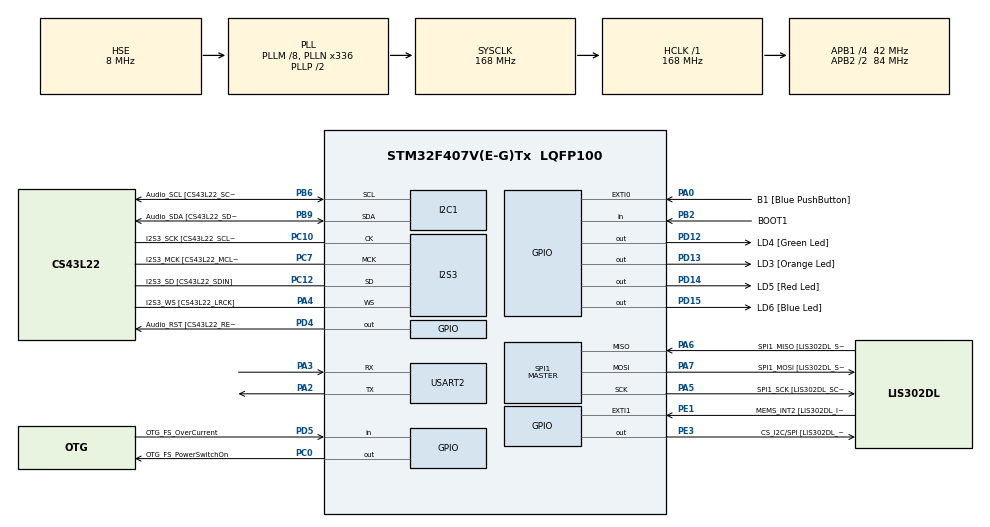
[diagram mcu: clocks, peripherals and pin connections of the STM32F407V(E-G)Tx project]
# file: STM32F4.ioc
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I2S3.AudioFreq-Half_Duplex_Master=I2S_AUDIOFREQ_96K
I2S3.ErrorAudioFreq=-2.34 %
I2S3.ErrorAudioFreq-Half_Duplex_Master=0.8 %
I2S3.FullDuplexMode=I2S_FULLDUPLEXMODE_DISABLE
I2S3.Instance=SPI$Index
I2S3.RealAudioFreq=93.75 KHz
I2S3.RealAudioFreq-Half_Duplex_Master=96.774 KHz
I2S3.VirtualMode=I2S_MODE_MASTER
Mcu.Family=STM32F4
Mcu.Name=STM32F407V(E-G)Tx
Mcu.Package=LQFP100
NVIC.PriorityGroup=NVIC_PRIORITYGROUP_0
PA0-WKUP.GPIO_Label=B1 [Blue PushButton]
PA0-WKUP.GPIO_ModeDefaultEXTI=GPIO_MODE_EVT_RISING
PA0-WKUP.GPIO_PuPd=GPIO_NOPULL
PA0-WKUP.Signal=GPXTI0
PA10.GPIO_Label=OTG_FS_ID
PA10.GPIO_Mode=GPIO_MODE_AF_PP
PA10.GPIO_PuPd=GPIO_NOPULL
PA10.GPIO_Speed=GPIO_SPEED_FREQ_LOW
PA10.Signal=USB_OTG_FS_ID
PA11.GPIO_Label=OTG_FS_DM
PA11.GPIO_Mode=GPIO_MODE_AF_PP
PA11.GPIO_PuPd=GPIO_NOPULL
PA11.GPIO_Speed=GPIO_SPEED_FREQ_LOW
PA11.Signal=USB_OTG_FS_DM
PA12.GPIO_Label=OTG_FS_DP
PA12.GPIO_Mode=GPIO_MODE_AF_PP
PA12.GPIO_PuPd=GPIO_NOPULL
PA12.GPIO_Speed=GPIO_SPEED_FREQ_LOW
PA12.Signal=USB_OTG_FS_DP
PA13.GPIO_Label=SWDIO
PA13.Mode=Serial_Wire
PA13.Signal=SYS_JTMS-SWDIO
PA14.GPIO_Label=SWCLK
PA14.Mode=Serial_Wire
PA14.Signal=SYS_JTCK-SWCLK
PA2.Mode=Asynchronous
PA2.Signal=USART2_TX
PA3.Mode=Asynchronous
PA3.Signal=USART2_RX
PA4.GPIO_Label=I2S3_WS [CS43L22_LRCK]
PA4.GPIO_Mode=GPIO_MODE_AF_PP
PA4.GPIO_PuPd=GPIO_NOPULL
PA4.GPIO_Speed=GPIO_SPEED_FREQ_LOW
PA4.Mode=Half_Duplex_Master
PA4.Signal=I2S3_WS
PA5.GPIO_Label=SPI1_SCK [LIS302DL_SCL/SPC]
PA5.GPIO_Mode=GPIO_MODE_AF_PP
PA5.GPIO_PuPd=GPIO_NOPULL
PA5.GPIO_Speed=GPIO_SPEED_FREQ_LOW
PA5.Mode=Full_Duplex_Master
PA5.Signal=SPI1_SCK
PA6.GPIO_Label=SPI1_MISO [LIS302DL_SDO]
PA6.GPIO_Mode=GPIO_MODE_AF_PP
PA6.GPIO_PuPd=GPIO_NOPULL
PA6.GPIO_Speed=GPIO_SPEED_FREQ_LOW
PA6.Mode=Full_Duplex_Master
PA6.Signal=SPI1_MISO
PA7.GPIO_Label=SPI1_MOSI [LIS302DL_SDA/SDI/SDO]
PA7.GPIO_Mode=GPIO_MODE_AF_PP
PA7.GPIO_PuPd=GPIO_NOPULL
PA7.GPIO_Speed=GPIO_SPEED_FREQ_LOW
PA7.Mode=Full_Duplex_Master
PA7.Signal=SPI1_MOSI
PA9.GPIO_Label=VBUS_FS
PA9.GPIO_Mode=GPIO_MODE_INPUT
PA9.GPIO_PuPd=GPIO_NOPULL
PA9.Signal=USB_OTG_FS_VBUS
PB10.GPIO_Label=CLK_IN [MP45DT02_CLK]
PB10.GPIO_Mode=GPIO_MODE_AF_PP
PB10.GPIO_PuPd=GPIO_NOPULL
PB10.GPIO_Speed=GPIO_SPEED_FREQ_LOW
PB10.Signal=I2S2_CK
PB2.GPIO_Label=BOOT1
PB2.GPIO_Mode=GPIO_MODE_INPUT
PB2.GPIO_PuPd=GPIO_NOPULL
PB2.Signal=GPIO_Input
PB3.GPIO_Label=SWO
PB3.Signal=SYS_JTDO-SWO
PB6.GPIO_Label=Audio_SCL [CS43L22_SCL]
PB6.GPIO_Mode=GPIO_MODE_AF_OD
PB6.GPIO_Pu=GPIO_PULLUP
PB6.GPIO_PuPd=GPIO_NOPULL
PB6.GPIO_Speed=GPIO_SPEED_FREQ_LOW
PB6.Mode=I2C
PB6.Signal=I2C1_SCL
PB9.GPIO_Label=Audio_SDA [CS43L22_SDA]
PB9.GPIO_Mode=GPIO_MODE_AF_OD
PB9.GPIO_Pu=GPIO_PULLUP
PB9.GPIO_PuPd=GPIO_NOPULL
PB9.GPIO_Speed=GPIO_SPEED_FREQ_LOW
PB9.Mode=I2C
PB9.Signal=I2C1_SDA
PC0.GPIO_Label=OTG_FS_PowerSwitchOn
PC0.GPIO_PuPd=GPIO_NOPULL
PC0.GPIO_Speed=GPIO_SPEED_FREQ_LOW
PC0.PinState=GPIO_PIN_SET
PC0.Signal=GPIO_Output
PC10.GPIO_Label=I2S3_SCK [CS43L22_SCLK]
PC10.GPIO_Mode=GPIO_MODE_AF_PP
PC10.GPIO_PuPd=GPIO_NOPULL
PC10.GPIO_Speed=GPIO_SPEED_FREQ_LOW
PC10.Mode=Half_Duplex_Master
PC10.Signal=I2S3_CK
PC12.GPIO_Label=I2S3_SD [CS43L22_SDIN]
PC12.GPIO_Mode=GPIO_MODE_AF_PP
PC12.GPIO_PuPd=GPIO_NOPULL
PC12.GPIO_Speed=GPIO_SPEED_FREQ_LOW
PC12.Mode=Half_Duplex_Master
PC12.Signal=I2S3_SD
PC14-OSC32_IN.GPIO_Label=PC14-OSC32_IN
PC14-OSC32_IN.Mode=LSE-External-Oscillator
PC14-OSC32_IN.Signal=RCC_OSC32_IN
PC15-OSC32_OUT.GPIO_Label=PC15-OSC32_OUT
PC15-OSC32_OUT.Mode=LSE-External-Oscillator
PC15-OSC32_OUT.Signal=RCC_OSC32_OUT
PC3.GPIO_Label=PDM_OUT [MP45DT02_DOUT]
PC3.GPIO_Mode=GPIO_MODE_AF_PP
PC3.GPIO_PuPd=GPIO_NOPULL
PC3.GPIO_Speed=GPIO_SPEED_FREQ_LOW
PC3.Signal=I2S2_SD
PC7.GPIO_Label=I2S3_MCK [CS43L22_MCLK]
PC7.GPIO_Mode=GPIO_MODE_AF_PP
PC7.GPIO_PuPd=GPIO_NOPULL
PC7.GPIO_Speed=GPIO_SPEED_FREQ_LOW
PC7.Mode=Master_Clock_Activated
PC7.Signal=I2S3_MCK
PD12.GPIO_Label=LD4 [Green Led]
PD12.GPIO_PuPd=GPIO_NOPULL
PD12.GPIO_Speed=GPIO_SPEED_FREQ_LOW
PD12.Signal=GPIO_Output
PD13.GPIO_Label=LD3 [Orange Led]
PD13.GPIO_PuPd=GPIO_NOPULL
PD13.GPIO_Speed=GPIO_SPEED_FREQ_LOW
PD13.Signal=GPIO_Output
PD14.GPIO_Label=LD5 [Red Led]
PD14.GPIO_PuPd=GPIO_NOPULL
PD14.GPIO_Speed=GPIO_SPEED_FREQ_LOW
PD14.Signal=GPIO_Output
PD15.GPIO_Label=LD6 [Blue Led]
PD15.GPIO_PuPd=GPIO_NOPULL
PD15.GPIO_Speed=GPIO_SPEED_FREQ_LOW
PD15.Signal=GPIO_Output
PD4.GPIO_Label=Audio_RST [CS43L22_RESET]
PD4.GPIO_PuPd=GPIO_NOPULL
PD4.GPIO_Speed=GPIO_SPEED_FREQ_LOW
PD4.Signal=GPIO_Output
PD5.GPIO_Label=OTG_FS_OverCurrent
PD5.GPIO_Mode=GPIO_MODE_INPUT
PD5.GPIO_PuPd=GPIO_NOPULL
PD5.Signal=GPIO_Input
PE1.GPIO_Label=MEMS_INT2 [LIS302DL_INT2]
PE1.GPIO_ModeDefaultEXTI=GPIO_MODE_EVT_RISING
PE1.GPIO_PuPd=GPIO_NOPULL
PE1.Signal=GPXTI1
PE3.GPIO_Label=CS_I2C/SPI [LIS302DL_CS_I2C/SPI]
PE3.GPIO_PuPd=GPIO_NOPULL
PE3.GPIO_Speed=GPIO_SPEED_FREQ_LOW
PE3.Signal=GPIO_Output
PH0-OSC_IN.GPIO_Label=PH0-OSC_IN
PH0-OSC_IN.Mode=HSE-External-Oscillator
PH0-OSC_IN.Signal=RCC_OSC_IN
PH1-OSC_OUT.GPIO_Label=PH1-OSC_OUT
PH1-OSC_OUT.Mode=HSE-External-Oscillator
PH1-OSC_OUT.Signal=RCC_OSC_OUT
ProjectManager.HeapSize=0x200
ProjectManager.StackSize=0x400
ProjectManager.TargetToolchain=STM32CubeIDE
RCC.48MHZClocksFreq_Value=48000000
RCC.AHBFreq_Value=168000000
RCC.APB1CLKDivider=RCC_HCLK_DIV4
RCC.APB1Freq_Value=42000000
RCC.APB1TimFreq_Value=84000000
RCC.APB2CLKDivider=RCC_HCLK_DIV2
RCC.APB2Freq_Value=84000000
RCC.APB2TimFreq_Value=168000000
RCC.CortexFreq_Value=168000000
RCC.HCLKFreq_Value=168000000
RCC.HSE_VALUE=8000000
RCC.HSI_VALUE=16000000
RCC.PLLM=8
RCC.PLLN=336
RCC.PLLQ=7
RCC.PLLSourceVirtual=RCC_PLLSOURCE_HSE
RCC.SYSCLKFreq_VALUE=168000000
RCC.SYSCLKSource=RCC_SYSCLKSOURCE_PLLCLK
RCC.VCOOutputFreq_Value=336000000
SPI1.BaudRatePrescaler-Full_Duplex_Master=SPI_BAUDRATEPRESCALER_2
SPI1.CalculateBaudRate-Full_Duplex_Master=42.0 MBits/s
SPI1.Direction=SPI_DIRECTION_2LINES
SPI1.Mode=SPI_MODE_MASTER
SPI1.Mode-Full_Duplex_Master=SPI_MODE_MASTER
SPI1.VirtualType=VM_MASTER
USART2.VirtualMode=VM_ASYNC
board=STM32F407G-DISC1

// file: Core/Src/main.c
/* USER CODE BEGIN Header */
/**
  ******************************************************************************
  * @file           : main.c
  * @brief          : Main program body
  ******************************************************************************
  * @attention
  *
  * Copyright (c) 2025 STMicroelectronics.
  * All rights reserved.
  *
  * This software is licensed under terms that can be found in the LICENSE file
  * in the root directory of this software component.
  * If no LICENSE file comes with this software, it is provided AS-IS.
  *
  ******************************************************************************
  */
/* USER CODE END Header */
#include "main.h"

/* USER CODE BEGIN Includes */
#include "stdio.h" //printf

/* USER CODE END Includes */

/* USER CODE BEGIN PD */
//define the ITM stimulus registers
#define ITM_PORT(n) (*((volatile unsigned long *)(0xE0000000+4*n)))

//DWT
//Define registers
#define DWT_CYCCNT *(volatile uint32_t *)0xE0001004
#define DWT_CONTROL *(volatile uint32_t *)0xE0001000
#define SCB_DEMCR *(volatile uint32_t *)0xE000EDFC

/* USER CODE END PD */

I2C_HandleTypeDef hi2c1;

I2S_HandleTypeDef hi2s3;

SPI_HandleTypeDef hspi1;

UART_HandleTypeDef huart2;

/* USER CODE BEGIN PV */
unsigned int Loop = 0;
//DWT
//Variables
uint32_t count_tic = 0;
uint32_t count_us = 0;

/* USER CODE END PV */

void SystemClock_Config(void);
static void MX_GPIO_Init(void);
static void MX_I2C1_Init(void);
static void MX_I2S3_Init(void);
static void MX_SPI1_Init(void);
static void MX_USART2_UART_Init(void);

/* USER CODE BEGIN 0 */
//write() function implementation for the printf()
/**/
int _write(int file, char *ptr, int len)
{
	// Implement your write code here, this is used by puts and printf for example
	for(int i=0 ; i<len ; i++)
	ITM_SendChar((*ptr++));
	return len;
}

/* USER CODE END 0 */

int main(void)
{

  /* USER CODE BEGIN 1 */
	//DWT
	//Enable the Counter
	SCB_DEMCR |= CoreDebug_DEMCR_TRCENA_Msk; //Enable DWT
	DWT_CONTROL|= DWT_CTRL_CYCCNTENA_Msk; //DWT On

  /* USER CODE END 1 */

  /* MCU Configuration--------------------------------------------------------*/

  /* Reset of all peripherals, Initializes the Flash interface and the Systick. */
  HAL_Init();

  /* Configure the system clock */
  SystemClock_Config();

  /* Initialize all configured peripherals */
  MX_GPIO_Init();
  MX_I2C1_Init();
  MX_I2S3_Init();
  MX_SPI1_Init();
  MX_USART2_UART_Init();

  /* Infinite loop */
  /* USER CODE BEGIN WHILE */
  while (1)
  {
	  Loop++;

	  //printf test
	  printf("Main loop!\n");
	  printf("Loop = %d \n", Loop); //Variable to SWO

	  //ITM_Port test
	  ITM_PORT(1) = 1; //Send data to ITM port
	  HAL_Delay(100);
	  ITM_PORT(1) = 2; //Send data to ITM port

	  //DWT test
	  DWT_CYCCNT = 0; 			//Set counter to 0
	  HAL_Delay(100);
	  //Get counter value
	  count_tic = DWT_CYCCNT; 	//qty of cycles
	  count_us = count_tic / (SystemCoreClock/1000000U); //time in us
	  ITM_PORT(2) = count_us; 	//us to ITM_Port

	  //Blink test
	  HAL_GPIO_TogglePin(LD4_GPIO_Port, LD4_Pin);
	  HAL_Delay(500);

    /* USER CODE END WHILE */

  }
}

void SystemClock_Config(void)
{
  RCC_OscInitTypeDef RCC_OscInitStruct = {0};
  RCC_ClkInitTypeDef RCC_ClkInitStruct = {0};

  /** Configure the main internal regulator output voltage
  */
  __HAL_RCC_PWR_CLK_ENABLE();
  __HAL_PWR_VOLTAGESCALING_CONFIG(PWR_REGULATOR_VOLTAGE_SCALE1);

  /** Initializes the RCC Oscillators according to the specified parameters
  * in the RCC_OscInitTypeDef structure.
  */
  RCC_OscInitStruct.OscillatorType = RCC_OSCILLATORTYPE_HSE;
  RCC_OscInitStruct.HSEState = RCC_HSE_ON;
  RCC_OscInitStruct.PLL.PLLState = RCC_PLL_ON;
  RCC_OscInitStruct.PLL.PLLSource = RCC_PLLSOURCE_HSE;
  RCC_OscInitStruct.PLL.PLLM = 8;
  RCC_OscInitStruct.PLL.PLLN = 336;
  RCC_OscInitStruct.PLL.PLLP = RCC_PLLP_DIV2;
  RCC_OscInitStruct.PLL.PLLQ = 7;
  if (HAL_RCC_OscConfig(&RCC_OscInitStruct) != HAL_OK)
  {
    Error_Handler();
  }

  /** Initializes the CPU, AHB and APB buses clocks
  */
  RCC_ClkInitStruct.ClockType = RCC_CLOCKTYPE_HCLK|RCC_CLOCKTYPE_SYSCLK
                              |RCC_CLOCKTYPE_PCLK1|RCC_CLOCKTYPE_PCLK2;
  RCC_ClkInitStruct.SYSCLKSource = RCC_SYSCLKSOURCE_PLLCLK;
  RCC_ClkInitStruct.AHBCLKDivider = RCC_SYSCLK_DIV1;
  RCC_ClkInitStruct.APB1CLKDivider = RCC_HCLK_DIV4;
  RCC_ClkInitStruct.APB2CLKDivider = RCC_HCLK_DIV2;

  if (HAL_RCC_ClockConfig(&RCC_ClkInitStruct, FLASH_LATENCY_5) != HAL_OK)
  {
    Error_Handler();
  }
}

static void MX_I2C1_Init(void)
{

  hi2c1.Instance = I2C1;
  hi2c1.Init.ClockSpeed = 100000;
  hi2c1.Init.DutyCycle = I2C_DUTYCYCLE_2;
  hi2c1.Init.OwnAddress1 = 0;
  hi2c1.Init.AddressingMode = I2C_ADDRESSINGMODE_7BIT;
  hi2c1.Init.DualAddressMode = I2C_DUALADDRESS_DISABLE;
  hi2c1.Init.OwnAddress2 = 0;
  hi2c1.Init.GeneralCallMode = I2C_GENERALCALL_DISABLE;
  hi2c1.Init.NoStretchMode = I2C_NOSTRETCH_DISABLE;
  if (HAL_I2C_Init(&hi2c1) != HAL_OK)
  {
    Error_Handler();
  }

}

static void MX_I2S3_Init(void)
{

  hi2s3.Instance = SPI3;
  hi2s3.Init.Mode = I2S_MODE_MASTER_TX;
  hi2s3.Init.Standard = I2S_STANDARD_PHILIPS;
  hi2s3.Init.DataFormat = I2S_DATAFORMAT_16B;
  hi2s3.Init.MCLKOutput = I2S_MCLKOUTPUT_ENABLE;
  hi2s3.Init.AudioFreq = I2S_AUDIOFREQ_96K;
  hi2s3.Init.CPOL = I2S_CPOL_LOW;
  hi2s3.Init.ClockSource = I2S_CLOCK_PLL;
  hi2s3.Init.FullDuplexMode = I2S_FULLDUPLEXMODE_DISABLE;
  if (HAL_I2S_Init(&hi2s3) != HAL_OK)
  {
    Error_Handler();
  }

}

static void MX_SPI1_Init(void)
{

  /* SPI1 parameter configuration*/
  hspi1.Instance = SPI1;
  hspi1.Init.Mode = SPI_MODE_MASTER;
  hspi1.Init.Direction = SPI_DIRECTION_2LINES;
  hspi1.Init.DataSize = SPI_DATASIZE_8BIT;
  hspi1.Init.CLKPolarity = SPI_POLARITY_LOW;
  hspi1.Init.CLKPhase = SPI_PHASE_1EDGE;
  hspi1.Init.NSS = SPI_NSS_SOFT;
  hspi1.Init.BaudRatePrescaler = SPI_BAUDRATEPRESCALER_2;
  hspi1.Init.FirstBit = SPI_FIRSTBIT_MSB;
  hspi1.Init.TIMode = SPI_TIMODE_DISABLE;
  hspi1.Init.CRCCalculation = SPI_CRCCALCULATION_DISABLE;
  hspi1.Init.CRCPolynomial = 10;
  if (HAL_SPI_Init(&hspi1) != HAL_OK)
  {
    Error_Handler();
  }

}

static void MX_USART2_UART_Init(void)
{

  huart2.Instance = USART2;
  huart2.Init.BaudRate = 115200;
  huart2.Init.WordLength = UART_WORDLENGTH_8B;
  huart2.Init.StopBits = UART_STOPBITS_1;
  huart2.Init.Parity = UART_PARITY_NONE;
  huart2.Init.Mode = UART_MODE_TX_RX;
  huart2.Init.HwFlowCtl = UART_HWCONTROL_NONE;
  huart2.Init.OverSampling = UART_OVERSAMPLING_16;
  if (HAL_UART_Init(&huart2) != HAL_OK)
  {
    Error_Handler();
  }

}

static void MX_GPIO_Init(void)
{
  GPIO_InitTypeDef GPIO_InitStruct = {0};

  /* GPIO Ports Clock Enable */
  __HAL_RCC_GPIOE_CLK_ENABLE();
  __HAL_RCC_GPIOC_CLK_ENABLE();
  __HAL_RCC_GPIOH_CLK_ENABLE();
  __HAL_RCC_GPIOA_CLK_ENABLE();
  __HAL_RCC_GPIOB_CLK_ENABLE();
  __HAL_RCC_GPIOD_CLK_ENABLE();

  /*Configure GPIO pin Output Level */
  HAL_GPIO_WritePin(CS_I2C_SPI_GPIO_Port, CS_I2C_SPI_Pin, GPIO_PIN_RESET);

  /*Configure GPIO pin Output Level */
  HAL_GPIO_WritePin(OTG_FS_PowerSwitchOn_GPIO_Port, OTG_FS_PowerSwitchOn_Pin, GPIO_PIN_SET);

  /*Configure GPIO pin Output Level */
  HAL_GPIO_WritePin(GPIOD, LD4_Pin|LD3_Pin|LD5_Pin|LD6_Pin
                          |Audio_RST_Pin, GPIO_PIN_RESET);

  /*Configure GPIO pin : CS_I2C_SPI_Pin */
  GPIO_InitStruct.Pin = CS_I2C_SPI_Pin;
  GPIO_InitStruct.Mode = GPIO_MODE_OUTPUT_PP;
  GPIO_InitStruct.Pull = GPIO_NOPULL;
  GPIO_InitStruct.Speed = GPIO_SPEED_FREQ_LOW;
  HAL_GPIO_Init(CS_I2C_SPI_GPIO_Port, &GPIO_InitStruct);

  /*Configure GPIO pin : OTG_FS_PowerSwitchOn_Pin */
  GPIO_InitStruct.Pin = OTG_FS_PowerSwitchOn_Pin;
  GPIO_InitStruct.Mode = GPIO_MODE_OUTPUT_PP;
  GPIO_InitStruct.Pull = GPIO_NOPULL;
  GPIO_InitStruct.Speed = GPIO_SPEED_FREQ_LOW;
  HAL_GPIO_Init(OTG_FS_PowerSwitchOn_GPIO_Port, &GPIO_InitStruct);

  /*Configure GPIO pin : PDM_OUT_Pin */
  GPIO_InitStruct.Pin = PDM_OUT_Pin;
  GPIO_InitStruct.Mode = GPIO_MODE_AF_PP;
  GPIO_InitStruct.Pull = GPIO_NOPULL;
  GPIO_InitStruct.Speed = GPIO_SPEED_FREQ_LOW;
  GPIO_InitStruct.Alternate = GPIO_AF5_SPI2;
  HAL_GPIO_Init(PDM_OUT_GPIO_Port, &GPIO_InitStruct);

  /*Configure GPIO pin : B1_Pin */
  GPIO_InitStruct.Pin = B1_Pin;
  GPIO_InitStruct.Mode = GPIO_MODE_EVT_RISING;
  GPIO_InitStruct.Pull = GPIO_NOPULL;
  HAL_GPIO_Init(B1_GPIO_Port, &GPIO_InitStruct);

  /*Configure GPIO pin : BOOT1_Pin */
  GPIO_InitStruct.Pin = BOOT1_Pin;
  GPIO_InitStruct.Mode = GPIO_MODE_INPUT;
  GPIO_InitStruct.Pull = GPIO_NOPULL;
  HAL_GPIO_Init(BOOT1_GPIO_Port, &GPIO_InitStruct);

  /*Configure GPIO pin : CLK_IN_Pin */
  GPIO_InitStruct.Pin = CLK_IN_Pin;
  GPIO_InitStruct.Mode = GPIO_MODE_AF_PP;
  GPIO_InitStruct.Pull = GPIO_NOPULL;
  GPIO_InitStruct.Speed = GPIO_SPEED_FREQ_LOW;
  GPIO_InitStruct.Alternate = GPIO_AF5_SPI2;
  HAL_GPIO_Init(CLK_IN_GPIO_Port, &GPIO_InitStruct);

  /*Configure GPIO pins : LD4_Pin LD3_Pin LD5_Pin LD6_Pin
                           Audio_RST_Pin */
  GPIO_InitStruct.Pin = LD4_Pin|LD3_Pin|LD5_Pin|LD6_Pin
                          |Audio_RST_Pin;
  GPIO_InitStruct.Mode = GPIO_MODE_OUTPUT_PP;
  GPIO_InitStruct.Pull = GPIO_NOPULL;
  GPIO_InitStruct.Speed = GPIO_SPEED_FREQ_LOW;
  HAL_GPIO_Init(GPIOD, &GPIO_InitStruct);

  /*Configure GPIO pin : VBUS_FS_Pin */
  GPIO_InitStruct.Pin = VBUS_FS_Pin;
  GPIO_InitStruct.Mode = GPIO_MODE_INPUT;
  GPIO_InitStruct.Pull = GPIO_NOPULL;
  HAL_GPIO_Init(VBUS_FS_GPIO_Port, &GPIO_InitStruct);

  /*Configure GPIO pins : OTG_FS_ID_Pin OTG_FS_DM_Pin OTG_FS_DP_Pin */
  GPIO_InitStruct.Pin = OTG_FS_ID_Pin|OTG_FS_DM_Pin|OTG_FS_DP_Pin;
  GPIO_InitStruct.Mode = GPIO_MODE_AF_PP;
  GPIO_InitStruct.Pull = GPIO_NOPULL;
  GPIO_InitStruct.Speed = GPIO_SPEED_FREQ_LOW;
  GPIO_InitStruct.Alternate = GPIO_AF10_OTG_FS;
  HAL_GPIO_Init(GPIOA, &GPIO_InitStruct);

  /*Configure GPIO pin : OTG_FS_OverCurrent_Pin */
  GPIO_InitStruct.Pin = OTG_FS_OverCurrent_Pin;
  GPIO_InitStruct.Mode = GPIO_MODE_INPUT;
  GPIO_InitStruct.Pull = GPIO_NOPULL;
  HAL_GPIO_Init(OTG_FS_OverCurrent_GPIO_Port, &GPIO_InitStruct);

  /*Configure GPIO pin : MEMS_INT2_Pin */
  GPIO_InitStruct.Pin = MEMS_INT2_Pin;
  GPIO_InitStruct.Mode = GPIO_MODE_EVT_RISING;
  GPIO_InitStruct.Pull = GPIO_NOPULL;
  HAL_GPIO_Init(MEMS_INT2_GPIO_Port, &GPIO_InitStruct);

}

void Error_Handler(void)
{
  __disable_irq();
  while (1)
  {
  }
}
